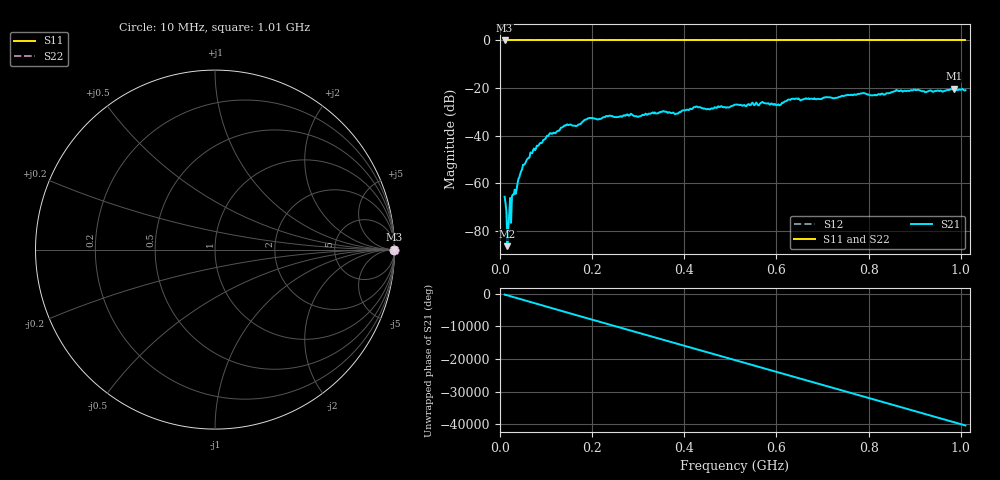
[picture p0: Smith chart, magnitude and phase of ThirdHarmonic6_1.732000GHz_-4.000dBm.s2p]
! 8/16/2025 8:51:44 PM
! C:\ANRITSUVNA\TEMP\TEMP.S2P
! CHANNEL.1
! TR.MEASUREMENT
! RAW.DATA
! RF.CORRECTION.OFF
! AVERAGING.OFF
! IF.BANDWIDTH: 5KHZ
! SWEEPTYPE:  FREQ.SWEEP(Linear)
! Reference Plane Port Info
! PORT:  PORT1  PORT2
! DISTANCE:  0  m  0  m
! TIME:  0  s  0  s
! PHASE.OFFSET:  0  deg.  0  deg.
! LOSS:  0  dB  0  dB
! REF.LOSS:  0  dB  0  dB
! REF.FREQ:  0  Hz  0  Hz
! Power Info
! POWER:  -20  dBm  -20  dBm
! EFF.POWER:  -20  dBm  -20  dBm
! SOURCE.ATTEN:  0  dB  0  dB
! TEST.ATTEN:  0  dB  0  dB
# GHZ S RI R 50.0
! FREQ.GHZ  S11RE  S11IM  S21RE  S21IM  S12RE  S12IM  S22RE  S22IM
!; PortSelection: Port_12
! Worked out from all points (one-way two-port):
!   501 points, 10 MHz to 1.01 GHz, reference 50 ohm
!   highest |S21| = -20.28 dB at 986 MHz (marker M1); lowest = -86.4 dB at 16 MHz (marker M2)
!   lowest |S11| = 0.0 dB at 10 MHz (marker M3)
!   |S11| at or under -10 dB: nowhere
!   |S22| runs from 0.0 to 0.0 dB; largest |S21 - S12| = 1.1
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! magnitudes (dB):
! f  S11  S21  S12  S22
! 10 MHz  0.0  -65.6  0.0  0.0
! 16 MHz  0.0  -86.4  0.0  0.0
! 20 MHz  0.0  -73.1  0.0  0.0
! 24 MHz  0.0  -76.6  0.0  0.0
! 30 MHz  0.0  -64.7  0.0  0.0
! 48 MHz  0.0  -54.1  0.0  0.0
! 70 MHz  0.0  -47.4  0.0  0.0
! 106 MHz  0.0  -39.7  0.0  0.0
! 142 MHz  0.0  -35.8  0.0  0.0
! 178 MHz  0.0  -34.4  0.0  0.0
! 196 MHz  0.0  -32.5  0.0  0.0
! 344 MHz  0.0  -30.5  0.0  0.0
! 382 MHz  0.0  -30.8  0.0  0.0
! 424 MHz  0.0  -28.0  0.0  0.0
! 452 MHz  0.0  -28.8  0.0  0.0
! 510 MHz  0.0  -27.0  0.0  0.0
! 604 MHz  0.0  -26.8  0.0  0.0
! 630 MHz  0.0  -24.9  0.0  0.0
! 678 MHz  0.0  -24.5  0.0  0.0
! 844 MHz  0.0  -22.2  0.0  0.0
! 986 MHz  0.0  -20.3  0.0  0.0
! 1.01 GHz  0.0  -20.9  0.0  0.0
